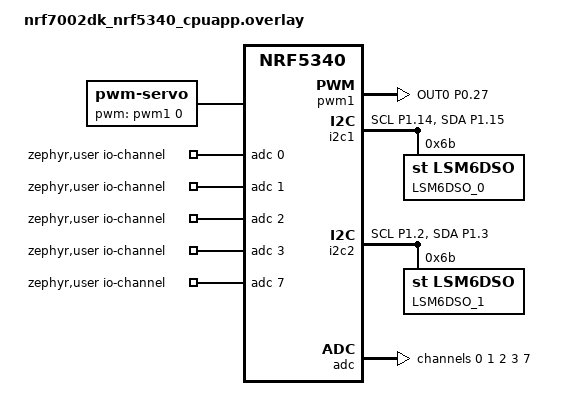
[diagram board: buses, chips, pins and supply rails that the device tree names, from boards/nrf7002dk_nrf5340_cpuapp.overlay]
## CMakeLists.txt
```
# SPDX-License-Identifier: Apache-2.0

cmake_minimum_required(VERSION 3.20.0)

find_package(Zephyr REQUIRED HINTS $ENV{ZEPHYR_BASE})
project(iot_venture_f25_spam_root)

target_sources(app PRIVATE
    src/main.c
    subroutines/servo/src/servo.c
    subroutines/servo/src/servo_logic.c 
    subroutines/Motion_sensor/src/imu.c
    subroutines/Motion_sensor/src/madgwick.c
    subroutines/pressure_sensor/src/adc_demo.c
    subroutines/ble_nus/src/ble_nus.c
    subroutines/peripheral_mds/src/main.c
    subroutines/Motion_sensor/src/madgwick_motion.c
    
)

target_include_directories(app PRIVATE
    subroutines/servo/src
    subroutines/Motion_sensor/src
    subroutines/pressure_sensor/src
    subroutines/ble_nus/src
    subroutines/peripheral_mds/src
)
```

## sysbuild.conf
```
SB_CONFIG_NETCORE_HCI_IPC=y
SB_CONFIG_BOOTLOADER_MCUBOOT=y
```

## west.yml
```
# West manifest for nRF7002DK project
# This file tells west which NCS version and modules to fetch

manifest:
  version: "0.7"

  remotes:
    - name: nrfconnect
      url-base: https://github.com/nrfconnect

  projects:
    # Main NCS repository
    - name: nrf
      remote: nrfconnect
      repo-path: sdk-nrf
      revision: v3.0.2
      import:
        # Import only required modules (faster clone)
        name-allowlist:
          # Core RTOS
          - zephyr
          
          # Bootloader & Security
          - mcuboot
          - trusted-firmware-m
          - mbedtls
          - oberon-psa-crypto
          
          # Nordic libraries
          - nrfxlib              # BLE controller, Wi-Fi firmware
          - hal_nordic           # Hardware abstraction layer
          
          # Connectivity
          - hostap               # Wi-Fi stack for nRF7002
          
          # Observability
          - memfault-firmware-sdk
          
          # Debugging & Tools
          - segger               # RTT logging
          
          # Sensors (for your motion sensor)
          - hal_st               # ST sensors (LSM6DSO)
          
          # Build system
          - cmsis
          - cmsis-dsp
          - cmsis-nn
          
          # File systems & utilities
          - littlefs
          - fatfs
          - cjson                # JSON parsing
          
          # Testing (optional)
          - cmock
          - edtt
          
          # Uncomment if you need these:
          # - matter             # Smart home protocol
          # - openthread         # Thread mesh networking
          # - azure-sdk-for-c    # Azure IoT
          # - suit-generator     # SUIT DFU
          # - suit-processor

  self:
    # Your project code location
    path: project
```

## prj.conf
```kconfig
# Nordic sample defaults
# CONFIG_NCS_SAMPLES_DEFAULTS=y

# # --- Bluetooth general ---
CONFIG_BT=y
CONFIG_BT_PERIPHERAL=y
CONFIG_BT_DEVICE_NAME="PostureCare"
CONFIG_BT_BUF_ACL_TX_SIZE=251
CONFIG_BT_L2CAP_TX_MTU=247
CONFIG_BT_GATT_NOTIFY_MULTIPLE=y
CONFIG_BT_BUF_ACL_TX_COUNT=10
CONFIG_BT_BUF_EVT_RX_COUNT=12


# # LBS (you can later remove if unused; harmless for now)
# CONFIG_BT_LBS=y
# CONFIG_BT_LBS_POLL_BUTTON=y
# CONFIG_DK_LIBRARY=y

# # --- Nordic UART Service (NUS) ---
# # Zephyr 4/NCS v3.0 switched NUS to BT_ZEPHYR_NUS*
CONFIG_BT_ZEPHYR_NUS=y
# CONFIG_BT_ZEPHYR_NUS_DEFAULT_INSTANCE=y
# CONFIG_BT_MAX_CONN=1
# CONFIG_BT_MAX_PAIRED=1

# --- Servo support ---
CONFIG_GPIO=y
CONFIG_PWM=y

# --- Logging & printf with floats (for servo angle logs) ---
CONFIG_LOG=y
CONFIG_LOG_DEFAULT_LEVEL=3
CONFIG_NEWLIB_LIBC=y
CONFIG_NEWLIB_LIBC_FLOAT_PRINTF=y
CONFIG_CBPRINTF_FP_SUPPORT=y

# # --- FOTA over Bluetooth (your existing config) ---
# CONFIG_NCS_SAMPLE_MCUMGR_BT_OTA_DFU=y

# # MCUboot + flash
# CONFIG_BOOTLOADER_MCUBOOT=y
# CONFIG_FLASH=y
# CONFIG_FLASH_PAGE_LAYOUT=y
# CONFIG_IMG_ERASE_PROGRESSIVELY=y


# Motion sensor
CONFIG_I2C=y
CONFIG_SENSOR=y
CONFIG_LSM6DSO=y
CONFIG_FPU=y
CONFIG_MAIN_STACK_SIZE=4096


# # ============ MEMFAULT CONFIGURATION ============
CONFIG_NCS_SAMPLES_DEFAULTS=y

CONFIG_BT=y
CONFIG_BT_SMP=y
CONFIG_BT_PERIPHERAL=y
#CONFIG_BT_DEVICE_NAME="Nordic_Memfault"
CONFIG_BT_PRIVACY=y

CONFIG_BT_BAS=y
CONFIG_BT_MDS=y

CONFIG_BT_CTLR_PHY_2M=y
CONFIG_BT_BUF_ACL_RX_SIZE=251
CONFIG_BT_L2CAP_TX_MTU=247
CONFIG_BT_BUF_ACL_TX_SIZE=251
CONFIG_BT_CTLR_DATA_LENGTH_MAX=251

CONFIG_LOG=y
CONFIG_LOG_PRINTK=n
CONFIG_LOG_DEFAULT_LEVEL=2
CONFIG_LOG_MODE_DEFERRED=y
CONFIG_LOG_MODE_OVERFLOW=y
CONFIG_LOG_BACKEND_RTT=n

CONFIG_SHELL=y
CONFIG_SENSOR_SHELL=n
CONFIG_DK_LIBRARY=y

# Heap memory is required for the memfault_demo_cli.c
CONFIG_HEAP_MEM_POOL_SIZE=256

CONFIG_MEMFAULT=y
CONFIG_MEMFAULT_SHELL=y
CONFIG_MEMFAULT_LOGGING_ENABLE=y
CONFIG_MEMFAULT_LOG_LEVEL_INF=y

CONFIG_MEMFAULT_NCS_BT_METRICS=y

# Enable bonding
CONFIG_BT_SETTINGS=y
CONFIG_FLASH=y
CONFIG_FLASH_PAGE_LAYOUT=y
CONFIG_FLASH_MAP=y

# --- Memfault configuration ---
# ⚠️ Make sure to update this line with YOUR Project Key from https://mflt.io/project-key!
CONFIG_MEMFAULT_NCS_PROJECT_KEY="VJrfSC2VgSTH9rZA7DJj4c0WWBQAStft"

# SMP is a must
CONFIG_BT_SMP=y

# Enable OTA updates
CONFIG_NCS_SAMPLE_MCUMGR_BT_OTA_DFU=y

# Enable more fields in the nRF Connect Device Manager app view
CONFIG_MCUMGR_GRP_OS_INFO=y

# Device Information Service (required for OTA)
CONFIG_BT_DIS=y
CONFIG_BT_DIS_SERIAL_NUMBER=y
CONFIG_BT_DIS_SERIAL_NUMBER_STR="mfltqs1"
CONFIG_BT_DIS_HW_REV=y
CONFIG_BT_DIS_HW_REV_STR="nrf7002dk"  # Set to your board, eg "nrf5340dk"
CONFIG_BT_DIS_SW_REV=y
CONFIG_BT_DIS_SW_REV_STR="main"
CONFIG_BT_DIS_FW_REV=y


# Memfault firmware identification
CONFIG_MEMFAULT_NCS_FW_TYPE="main"
CONFIG_MEMFAULT_NCS_FW_VERSION_STATIC=y
CONFIG_MEMFAULT_NCS_DEVICE_ID="mfltqs1"
## hardware id issue resolution command below
CONFIG_MEMFAULT_NCS_DEVICE_ID_STATIC=y

# Set MCUBoot image header version to match DIS and Memfault version
CONFIG_BT_DIS_FW_REV_STR="0.0.3"
CONFIG_MEMFAULT_NCS_FW_VERSION="0.0.3"
CONFIG_MCUBOOT_IMGTOOL_SIGN_VERSION="0.0.3"

##--------------------------------------------------------------------------##
## Using the above doesn't allow you to do FOTA updates from the nRF Device Manager app.
## Tried to use external flash but it still doesn't work as peripheral MDS already uses internal flash.
## There is a conflict in flash usage if external flash is enabled.
## Adding new configurations below to try and fix that
##--------------------------------------------------------------------------##




# Flash and Settings Backend (REQUIRED for BT_SETTINGS)
CONFIG_NVS=y
CONFIG_SETTINGS=y
CONFIG_SETTINGS_NVS=y

CONFIG_MEMFAULT_METRICS_CPU_TEMP=n
# adc setting
CONFIG_ADC=y

# let website see the ble
CONFIG_BT_EXT_ADV=n
```

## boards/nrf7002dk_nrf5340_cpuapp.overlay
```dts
/ {
    servo: servo_0 {
        compatible = "pwm-servo";

        /* <&pwm1 channel period polarity> */
        pwms = <&pwm1 0 PWM_MSEC(20) PWM_POLARITY_NORMAL>;

        /* Tweak to match your servo */
        min-pulse = <PWM_USEC(900)>;   /* about -90 deg */
        max-pulse = <PWM_USEC(2100)>;  /* about +90 deg */
    };
};

&flash0 {
    partitions {
        compatible = "fixed-partitions";
        #address-cells = <1>;
        #size-cells = <1>;

        storage_partition: partition@f8000 {
            label = "storage";
            reg = <0x000f8000 0x00008000>;
        };
    };
};



&pwm1 {
    status = "okay";
    pinctrl-0 = <&pwm1_default_alt>;
    pinctrl-1 = <&pwm1_sleep_alt>;
    pinctrl-names = "default", "sleep";
};



&pinctrl {
    pwm1_default_alt: pwm1_default_alt {
        group1 {
            psels = <NRF_PSEL(PWM_OUT0, 0, 27)>;
        };
    };

    pwm1_sleep_alt: pwm1_sleep_alt {
        group1 {
            psels = <NRF_PSEL(PWM_OUT0, 0, 27)>;
            low-power-enable;
        };
    };

    i2c1_default: i2c1_default {
        group1 {
            psels = <NRF_PSEL(TWIM_SCL, 1, 14)>,
                    <NRF_PSEL(TWIM_SDA, 1, 15)>;
                    bias-pull-up;
        };
    };

    i2c1_sleep: i2c1_sleep {
        group1 {
            psels = <NRF_PSEL(TWIM_SCL, 1, 14)>,
                    <NRF_PSEL(TWIM_SDA, 1, 15)>;
            low-power-enable;
        };
    };


    i2c2_default: i2c2_default {
        group1 {
            psels = <NRF_PSEL(TWIM_SCL, 1, 2)>,
                    <NRF_PSEL(TWIM_SDA, 1, 3)>;
                    bias-pull-up;
        };
    };


    i2c2_sleep: i2c2_sleep {
        group1 {
            psels = <NRF_PSEL(TWIM_SCL, 1, 2)>,
                    <NRF_PSEL(TWIM_SDA, 1, 3)>;
            low-power-enable;
        };
    };
};



&i2c1 {
    status = "okay";
    pinctrl-0 = <&i2c1_default>;
    pinctrl-1 = <&i2c1_sleep>;
    pinctrl-names = "default", "sleep";

    lsm6dso0: imu0@6b {
        compatible = "st,lsm6dso";
        reg = <0x6b>;
        label = "LSM6DSO_0";
        status = "okay";

        /* 加速度计：±2g，104 Hz */
        accel-range = <0>;
        accel-odr   = <4>;

        /* 陀螺仪：±125 dps，104 Hz */
        gyro-range = <1>;
        gyro-odr   = <4>;
    };  
};

&i2c2 {
    status = "okay";
    pinctrl-0 = <&i2c2_default>;
    pinctrl-1 = <&i2c2_sleep>;
    pinctrl-names = "default", "sleep";

    lsm6dso1: imu1@6b {
        compatible = "st,lsm6dso";
        reg = <0x6b>;              
        label = "LSM6DSO_1";
        status = "okay";

        accel-range = <0>;
        accel-odr   = <4>;
        gyro-range  = <1>;
        gyro-odr    = <4>;
    };
};

/ {
	zephyr,user {
		io-channels = <&adc 0>, <&adc 1>, <&adc 2>,<&adc 3>,<&adc 7>;
	};
};

&adc {
	#address-cells = <1>;
	#size-cells = <0>;
	status = "okay";

	channel@0 {
		reg = <0>;
		zephyr,gain = "ADC_GAIN_1";
		zephyr,reference = "ADC_REF_INTERNAL";
		zephyr,acquisition-time = <ADC_ACQ_TIME_DEFAULT>;
		zephyr,input-positive = <NRF_SAADC_AIN4>; /* P1.11 */
		zephyr,resolution = <10>;
	};

	channel@1 {
		reg = <1>;
		zephyr,gain = "ADC_GAIN_1";
		zephyr,reference = "ADC_REF_INTERNAL";
		zephyr,acquisition-time = <ADC_ACQ_TIME_DEFAULT>;
		zephyr,input-positive = <NRF_SAADC_AIN2>; /* P1.06 */
		zephyr,resolution = <12>;
		zephyr,oversampling = <8>;
	};

	channel@2 {
		reg = <2>;
		zephyr,gain = "ADC_GAIN_1";
		zephyr,reference = "ADC_REF_INTERNAL";
		zephyr,acquisition-time = <ADC_ACQ_TIME_DEFAULT>;
		zephyr,input-positive = <NRF_SAADC_VDD>;
		zephyr,resolution = <12>;
		zephyr,oversampling = <8>;
	};

    /* NEW: second pressure sensor on P0.07 / AIN3 */
    channel@3 {
        reg = <3>;
        zephyr,gain = "ADC_GAIN_1";
        zephyr,reference = "ADC_REF_INTERNAL";
        zephyr,acquisition-time = <ADC_ACQ_TIME_DEFAULT>;
        zephyr,input-positive = <NRF_SAADC_AIN3>; /* P0.07: second pressure sensor */
        zephyr,resolution = <12>;
        zephyr,oversampling = <8>;
    };

	channel@7 {
		reg = <7>;
		zephyr,gain = "ADC_GAIN_1";
		zephyr,reference = "ADC_REF_INTERNAL";
		zephyr,acquisition-time = <ADC_ACQ_TIME_DEFAULT>;
		zephyr,input-positive = <NRF_SAADC_AIN6>; /* P1.13 */
		zephyr,input-negative = <NRF_SAADC_AIN7>; /* P1.14 */
		zephyr,resolution = <12>;
	};
};
```

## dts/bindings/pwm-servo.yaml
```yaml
description: PWM-driven servo motor.

compatible: "pwm-servo"

include: base.yaml

properties:
  pwms:
    required: true
    type: phandle-array
    description: PWM specifier driving the servo motor.

  min-pulse:
    required: true
    type: int
    description: Minimum pulse width (nanoseconds).

  max-pulse:
    required: true
    type: int
    description: Maximum pulse width (nanoseconds).
```

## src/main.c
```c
/* root/src/main.c - BLE NUS → Servo bridge */

#include <zephyr/bluetooth/bluetooth.h>
#include <zephyr/bluetooth/services/nus.h>
#include <zephyr/kernel.h>
#include <zephyr/logging/log.h>
#include <stdbool.h>
#include <zephyr/drivers/gpio.h>
#include <bluetooth/services/mds.h>


#include "adc_demo.h"
#include "imu.h"
#include "madgwick.h"
#include "servo.h"
#include "madgwick_motion.h"
#include "servo_logic.h"
#include "ble_nus.h"


/* ---- Posture detection threshold ---- */
#define POSTURE_ANGLE_THRESHOLD 50.0f   /* 超过 15° 认为姿势不良 */
#define PRESSURE_LOWER_LIMIT     2000    

/* ---- Main loop interval ---- */
#define LOOP_INTERVAL_MS         2000   /* 2000 ms 更新一次 */

/* BLE basic setting */
#define DEVICE_NAME      "PostureCare"
#define DEVICE_NAME_LEN  (sizeof(DEVICE_NAME) - 1)

LOG_MODULE_REGISTER(root_main, LOG_LEVEL_INF);

#define VIB_PORT_NODE  DT_NODELABEL(gpio1)   /* nRF 的 P1.xx 对应 gpio1 */
#define VIB_PIN1       8                     /* P1.08 */
#define VIB_PIN2       9                     /* P1.09 */

static const struct device *vib_port = DEVICE_DT_GET(VIB_PORT_NODE);



static void vibrate_warning(void)
{
    /* 高电平启动振动马达（如果你用的是低有效，就反着写） */
    gpio_pin_set(vib_port, VIB_PIN1, 1);
    gpio_pin_set(vib_port, VIB_PIN2, 1);

    k_sleep(K_SECONDS(2));

    gpio_pin_set(vib_port, VIB_PIN1, 0);
    gpio_pin_set(vib_port, VIB_PIN2, 0);
}


/* ====================== NUS RX → Servo 命令 ====================== */

static void root_rx_cb(const uint8_t *data, size_t len)
{
    for (size_t i = 0; i < len; i++) {
        char cmd = (char)data[i];

        LOG_INF("RX cmd '%c' (0x%02x)",
                (cmd >= 32 && cmd <= 126) ? cmd : '.',
                (unsigned char)cmd);

        servo_apply_command(cmd);
    }
}

/* ====================== NUS TX 发送线程 ====================== */

K_MSGQ_DEFINE(ble_tx_queue, 32, 50, 4);  /* msg size=32 bytes, 50 messages */

void ble_tx_thread(void)
{
    char msg[32];

    while (1) {
        /* Wait for a message */
        k_msgq_get(&ble_tx_queue, msg, K_FOREVER);

        /* Attempt to send (handle ENOMEM/EAGAIN) */
        int err;
        do {
            err = bt_nus_send(NULL, msg, strlen(msg));
            if (err == -ENOMEM || err == -EAGAIN) {
                k_msleep(50);  /* small retry delay */
            }
        } while (err == -ENOMEM || err == -EAGAIN);

        if (err) {
            printk("BLE TX error: %d\n", err);
            k_msleep(50);
        }
    }
}

K_THREAD_DEFINE(ble_tx_id,
                2048,
                ble_tx_thread,
                NULL, NULL, NULL,
                7, 0, 0);

/* ====================== main ====================== */

void main(void)
{
    LOG_INF("System start...");

    int err;

     /* ============ Register MDS callbacks BEFORE BLE init ============ */
    static const struct bt_mds_cb mds_cb = {
        .access_enable = NULL,  // Or implement access control if needed
    };

    err = bt_mds_cb_register(&mds_cb);
    if (err) {
        LOG_ERR("MDS callback registration failed: %d", err);
        return;
    }
    LOG_INF("MDS callbacks registered");

    /* ---- initialize BLE, and register RX callback ---- */
    err = ble_nus_run(root_rx_cb);
    if (err) {
        LOG_ERR("BLE init failed: %d", err);
        return;
    }
    LOG_INF("BLE ready");

    /* ------------ initialize IMUs (two sensors) ------------ */
    if (imu_init() != 0) {
        LOG_ERR("IMU init failed!");
        return;
    }
    LOG_INF("IMU0 & IMU1 OK");

    /* ------------ initialize ADC ------------ */
    if (adc_demo_init() != 0) {
        LOG_ERR("ADC init failed!");
        return;
    }
    LOG_INF("ADC OK");

    /* ------------ initialize Servo ------------ */
    if (servo_init() != 0) {
        LOG_ERR("Servo init failed!");
        return;
    }
    LOG_INF("Servo OK and centered");

    /* ------------ initialize vibration motors GPIO ------------ */
    if (!device_is_ready(vib_port)) {
        LOG_ERR("Vibration GPIO not ready");
        return;
    }

    gpio_pin_configure(vib_port, VIB_PIN1,
                       GPIO_OUTPUT_INACTIVE | GPIO_ACTIVE_HIGH);
    gpio_pin_configure(vib_port, VIB_PIN2,
                       GPIO_OUTPUT_INACTIVE | GPIO_ACTIVE_HIGH);



    /* ========= IMU0 / IMU1 参考姿态 & 计数 ========= */
    struct imu_angles imu0_ref = {0};
    struct imu_angles imu1_ref = {0};
    bool imu0_ref_set = false;
    bool imu1_ref_set = false;
    int  imu0_sample_count = 0;
    int  imu1_sample_count = 0;

    /* ========= 上一周期的状态，用于检测变化（可选） ========= */
    bool prev_bad_posture0 = false;
    bool prev_bad_posture1 = false;
    bool prev_low_pressure1 = false;
    bool prev_low_pressure2 = false;

    uint32_t loop_cnt = 0;

    /* ------------ main loop ------------ */
    while (1) {

        /* ------- loop 头：给循环之间一个大间隔 ------- */
        printk("\n\n========== LOOP %lu ==========\n",
               (unsigned long)loop_cnt++);

        /* ===== IMU0: 主传感器 ===== */
        struct imu_angles imu0_abs = {0};   /* IMU0 绝对角 */
        struct imu_angles imu0_rel = {0};   /* IMU0 相对角 */
        bool imu0_rel_valid = false;
        bool bad_posture0   = false;

        err = imu_update_main(&imu0_abs);
        if (err != 0) {
            LOG_WRN("imu_update_main() not ready, err=%d", err);
        } else {
            imu0_sample_count++;

            /* 第 5 次：锁定参考姿态（只打一次 log） */
            if (!imu0_ref_set && imu0_sample_count == 5) {
                imu0_ref     = imu0_abs;
                imu0_ref_set = true;

                LOG_INF("IMU0 reference locked: R0=%.2f, P0=%.2f, Y0=%.2f",
                        imu0_ref.roll, imu0_ref.pitch, imu0_ref.yaw);
            }

            /* 有了参考姿态才计算相对角和姿态判断，并且每次循环打印 */
            if (imu0_ref_set) {
                imu0_rel.roll  = imu0_abs.roll  - imu0_ref.roll;
                imu0_rel.pitch = imu0_abs.pitch - imu0_ref.pitch;
                imu0_rel.yaw   = imu0_abs.yaw   - imu0_ref.yaw;
                imu0_rel_valid = true;

                bad_posture0 =
                    (fabsf(imu0_rel.roll)  > POSTURE_ANGLE_THRESHOLD) ||
                    (fabsf(imu0_rel.pitch) > POSTURE_ANGLE_THRESHOLD);

                printk("IMU0 ANGLES (relative):\n");
                printk("  ROLL0  = %.2f deg\n", imu0_rel.roll);
                printk("  PITCH0 = %.2f deg\n", imu0_rel.pitch);
                printk("  YAW0   = %.2f deg\n", imu0_rel.yaw);
                printk("  STATUS0= %s\n", bad_posture0 ? "BAD" : "OK");
            }
        }

        /* IMU0 和 IMU1 之间插一行空行，视觉上分开 */
        printk("\n");

        /* ===== IMU1: 第二个传感器 ===== */
        struct imu_angles imu1_abs = {0};   /* IMU1 绝对角 */
        struct imu_angles imu1_rel = {0};   /* IMU1 相对角 */
        bool imu1_rel_valid = false;
        bool bad_posture1   = false;

        int err_motion = imu_update_motion(&imu1_abs);
        if (err_motion != 0) {
            LOG_WRN("imu_update_motion() not ready, err=%d", err_motion);
        } else {
            imu1_sample_count++;

            if (!imu1_ref_set && imu1_sample_count == 5) {
                imu1_ref     = imu1_abs;
                imu1_ref_set = true;

                LOG_INF("IMU1 reference locked: R1=%.2f, P1=%.2f, Y1=%.2f",
                        imu1_ref.roll, imu1_ref.pitch, imu1_ref.yaw);
            }

            if (imu1_ref_set) {
                imu1_rel.roll  = imu1_abs.roll  - imu1_ref.roll;
                imu1_rel.pitch = imu1_abs.pitch - imu1_ref.pitch;
                imu1_rel.yaw   = imu1_abs.yaw   - imu1_ref.yaw;
                imu1_rel_valid = true;

                bad_posture1 =
                    (fabsf(imu1_rel.roll)  > POSTURE_ANGLE_THRESHOLD) ||
                    (fabsf(imu1_rel.pitch) > POSTURE_ANGLE_THRESHOLD);

                printk("IMU1 ANGLES (relative):\n");
                printk("  ROLL1  = %.2f deg\n", imu1_rel.roll);
                printk("  PITCH1 = %.2f deg\n", imu1_rel.pitch);
                printk("  YAW1   = %.2f deg\n", imu1_rel.yaw);
                printk("  STATUS1= %s\n", bad_posture1 ? "BAD" : "OK");
            }
        }

              /* ===== 压力传感器 1 & 2 ===== */
        int pressure1 = adc_demo_read();    /* existing sensor on P0.06 / AIN2 */
        int pressure2 = adc_demo_read2();   /* NEW sensor on P0.07 / AIN3 */

        bool low_pressure1 = false;
        bool low_pressure2 = false;

        if (pressure1 < 0) {
            LOG_ERR("ADC read error (sensor1): %d", pressure1);
        } else {
            low_pressure1 = (pressure1 > PRESSURE_LOWER_LIMIT);
            printk("\nPressure1 = %d  (%s)\n",
                   pressure1,
                   low_pressure1 ? "High" : "OK");
        }

        if (pressure2 < 0) {
            LOG_ERR("ADC read error (sensor2): %d", pressure2);
        } else {
            low_pressure2 = (pressure2 > PRESSURE_LOWER_LIMIT);
            printk("Pressure2 = %d  (%s)\n",
                   pressure2,
                   low_pressure2 ? "High" : "OK");
        }

        bool low_pressure = low_pressure1 || low_pressure2;  /* keep a combined flag */


        /* ===== 状态变化时再用 LOG_INF 打高层信息 ===== */
        bool bad_posture = bad_posture0 || bad_posture1;

        if ((bad_posture0 != prev_bad_posture0) ||
            (bad_posture1 != prev_bad_posture1)) {

            if (bad_posture) {
                LOG_INF("Bad posture: IMU0[%s] IMU1[%s]",
                        bad_posture0 ? "BAD" : "OK",
                        bad_posture1 ? "BAD" : "OK");
            } else {
                LOG_INF("Posture corrected: IMU0 & IMU1 both OK");
            }
        }

         if (low_pressure1 != prev_low_pressure1) {
            LOG_INF("Pressure1=%d → %s",
                    pressure1,
                    low_pressure1 ? "high (loosen)" : "OK");
        }

        if (low_pressure2 != prev_low_pressure2) {
            LOG_INF("Pressure2=%d → %s",
                    pressure2,
                    low_pressure2 ? "high (loosen)" : "OK");
        }

        prev_bad_posture0 = bad_posture0;
        prev_bad_posture1 = bad_posture1;
        prev_low_pressure1 = low_pressure1;
        prev_low_pressure2 = low_pressure2;

        /* ===== 舵机控制：放在所有打印之后 ===== */
        if (bad_posture) {
            vibrate_warning();
            servo_apply_command('1');   /* tighten */
            k_sleep(K_MSEC(200));
        }

        if (low_pressure) {
            servo_apply_command('2');   /* loosen */
            k_sleep(K_MSEC(200));
        }

        /* --------------------------------------------------
         *  sending data to phone via BLE
         * -------------------------------------------------- */
        if (ble_nus_ready()
            && imu0_ref_set && imu1_ref_set
            && imu0_rel_valid && imu1_rel_valid) {

            char msg[32];

            /* Pressure */
            snprintf(msg, sizeof(msg), "Pressure=%d", pressure1);
            k_msgq_put(&ble_tx_queue, msg, K_NO_WAIT);
            k_msleep(50);

            snprintf(msg, sizeof(msg), "Pressure2=%d", pressure2);
            k_msgq_put(&ble_tx_queue, msg, K_NO_WAIT);
            k_msleep(50);

            /* IMU0: relative angles */
            snprintf(msg, sizeof(msg), "Roll0=%.1f", imu0_rel.roll);
            k_msgq_put(&ble_tx_queue, msg, K_NO_WAIT);
            k_msleep(50);

            snprintf(msg, sizeof(msg), "Pitch0=%.1f", imu0_rel.pitch);
            k_msgq_put(&ble_tx_queue, msg, K_NO_WAIT);
            k_msleep(50);

            snprintf(msg, sizeof(msg), "Yaw0=%.1f", imu0_rel.yaw);
            k_msgq_put(&ble_tx_queue, msg, K_NO_WAIT);
            k_msleep(50);

            /* IMU1: relative angles */
            snprintf(msg, sizeof(msg), "Roll1=%.1f", imu1_rel.roll);
            k_msgq_put(&ble_tx_queue, msg, K_NO_WAIT);
            k_msleep(50);

            snprintf(msg, sizeof(msg), "Pitch1=%.1f", imu1_rel.pitch);
            k_msgq_put(&ble_tx_queue, msg, K_NO_WAIT);
            k_msleep(50);

            snprintf(msg, sizeof(msg), "Yaw1=%.1f", imu1_rel.yaw);
            k_msgq_put(&ble_tx_queue, msg, K_NO_WAIT);
            k_msleep(50);
        }

        /* -------- 5. 延时：循环之间物理时间也隔开 -------- */
        k_sleep(K_MSEC(LOOP_INTERVAL_MS));
    }
}
```
